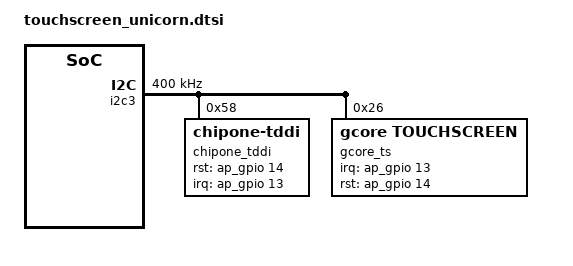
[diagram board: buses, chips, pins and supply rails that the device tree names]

&i2c3 {
	status = "okay";
	clock-frequency = <400000>;
	chipone_tddi@58 {
		compatible = "chipone-tddi";
		reg = <0x58>;
		chipone,rst-gpio = <&ap_gpio 14 0>;
		chipone,irq-gpio = <&ap_gpio 13 0>;
		chipone,x-res = <719>;
		chipone,y-res = <1599>;
	};
	gcore_ts@26 {
		compatible = "gcore,touchscreen";
		reg = <0x26>;
		gcore,irq-gpio = <&ap_gpio 13 0>;
		gcore,rst-gpio = <&ap_gpio 14 0>;
	};
};
